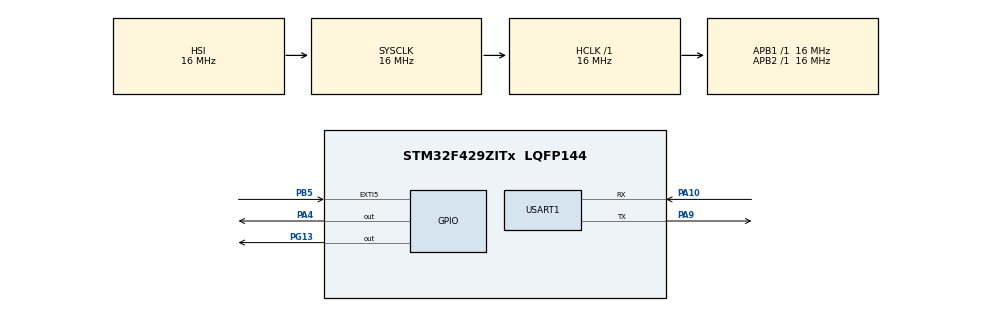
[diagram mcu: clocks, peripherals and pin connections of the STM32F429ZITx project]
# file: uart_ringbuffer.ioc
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Dma.Request0=USART1_RX
Dma.Request1=USART1_TX
Dma.USART1_RX.0.Direction=DMA_PERIPH_TO_MEMORY
Dma.USART1_RX.0.FIFOMode=DMA_FIFOMODE_DISABLE
Dma.USART1_RX.0.Instance=DMA2_Stream2
Dma.USART1_RX.0.MemDataAlignment=DMA_MDATAALIGN_BYTE
Dma.USART1_RX.0.MemInc=DMA_MINC_ENABLE
Dma.USART1_RX.0.Mode=DMA_CIRCULAR
Dma.USART1_RX.0.PeriphDataAlignment=DMA_PDATAALIGN_BYTE
Dma.USART1_RX.0.PeriphInc=DMA_PINC_DISABLE
Dma.USART1_RX.0.Priority=DMA_PRIORITY_LOW
Dma.USART1_TX.1.Direction=DMA_MEMORY_TO_PERIPH
Dma.USART1_TX.1.FIFOMode=DMA_FIFOMODE_DISABLE
Dma.USART1_TX.1.Instance=DMA2_Stream7
Dma.USART1_TX.1.MemDataAlignment=DMA_MDATAALIGN_BYTE
Dma.USART1_TX.1.MemInc=DMA_MINC_ENABLE
Dma.USART1_TX.1.Mode=DMA_NORMAL
Dma.USART1_TX.1.PeriphDataAlignment=DMA_PDATAALIGN_BYTE
Dma.USART1_TX.1.PeriphInc=DMA_PINC_DISABLE
Dma.USART1_TX.1.Priority=DMA_PRIORITY_LOW
Mcu.Family=STM32F4
Mcu.Name=STM32F429ZITx
Mcu.Package=LQFP144
NVIC.DMA2_Stream2_IRQn=true\:0\:0\:false\:false\:true\:false\:true\:true
NVIC.DMA2_Stream7_IRQn=true\:0\:0\:false\:false\:true\:false\:true\:true
NVIC.EXTI9_5_IRQn=true\:0\:0\:false\:false\:true\:true\:true\:true
NVIC.PriorityGroup=NVIC_PRIORITYGROUP_4
NVIC.USART1_IRQn=true\:0\:0\:false\:false\:true\:true\:true\:true
PA10.Mode=Asynchronous
PA10.Signal=USART1_RX
PA4.GPIO_PuPd=GPIO_PULLUP
PA4.Signal=GPIO_Output
PA9.Mode=Asynchronous
PA9.Signal=USART1_TX
PB5.GPIO_ModeDefaultEXTI=GPIO_MODE_IT_FALLING
PB5.GPIO_PuPd=GPIO_PULLUP
PB5.Signal=GPXTI5
PG13.Signal=GPIO_Output
ProjectManager.HeapSize=0x200
ProjectManager.StackSize=0x400
ProjectManager.TargetToolchain=STM32CubeIDE
RCC.AHBFreq_Value=16000000
RCC.APB1Freq_Value=16000000
RCC.APB2Freq_Value=16000000
RCC.CortexFreq_Value=16000000
RCC.HSE_VALUE=25000000
RCC.HSI_VALUE=16000000
RCC.LSE_VALUE=32768
RCC.SYSCLKFreq_VALUE=16000000
RCC.VCOOutputFreq_Value=192000000
USART1.VirtualMode=VM_ASYNC
board=custom

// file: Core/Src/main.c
/* USER CODE BEGIN Header */
/**
  ******************************************************************************
  * @file           : main.c
  * @brief          : Main program body
  ******************************************************************************
  * @attention
  *
  * Copyright (c) 2022 STMicroelectronics.
  * All rights reserved.
  *
  * This software is licensed under terms that can be found in the LICENSE file
  * in the root directory of this software component.
  * If no LICENSE file comes with this software, it is provided AS-IS.
  *
  ******************************************************************************
  */
/* USER CODE END Header */
#include "main.h"

/* USER CODE BEGIN Includes */
#include <string.h>
#include <stdio.h>
#include <stdbool.h>
/* USER CODE END Includes */

/* USER CODE BEGIN PM */
#define TXBUF_MAX		303			// 303 bytes
#define RXBUF_MAX		303			// 303 bytes
/* USER CODE END PM */

UART_HandleTypeDef huart1;
DMA_HandleTypeDef hdma_usart1_rx;
DMA_HandleTypeDef hdma_usart1_tx;

/* USER CODE BEGIN PV */
uint32_t UartRxDMANum = 0;
bool bUartTxDMACpltFlg = true,bUartDataUpdateFlg = false;

uint8_t UartTxDMA_Buf[TXBUF_MAX];
uint8_t UartRxDMA_Buf[RXBUF_MAX];

typedef struct UARTCircBufTag {
	uint8_t	RxBuf1[RXBUF_MAX];
	uint8_t	RxBuf2[RXBUF_MAX];
	int32_t	m_iHead,m_iTail,QueueSize;
	uint32_t OverFlowNum,UnderFlowNum;
} UARTCircBufTyp;

UARTCircBufTyp UARTBuf;

/* USER CODE END PV */

void SystemClock_Config(void);
static void MX_GPIO_Init(void);
static void MX_DMA_Init(void);
static void MX_USART1_UART_Init(void);
/* USER CODE BEGIN PFP */
// Circular Queue(Buffer) :
void	QueueClear(void);
int		QueueGetSize(void);
void QueueDisplayFun(void);
bool	QueuePutByte(uint8_t b);		// 1 byte 넣기
bool	QueueGetByte(uint8_t *pb);		// 1 byte 꺼내기
/* USER CODE END PFP */

int main(void)
{

  /* MCU Configuration--------------------------------------------------------*/

  /* Reset of all peripherals, Initializes the Flash interface and the Systick. */
  HAL_Init();

  /* Configure the system clock */
  SystemClock_Config();

  /* Initialize all configured peripherals */
  MX_GPIO_Init();
  MX_DMA_Init();
  MX_USART1_UART_Init();
  /* USER CODE BEGIN 2 */

  SET_BIT(huart1.Instance->CR3,USART_CR3_DMAT);
  SET_BIT(huart1.Instance->CR3,USART_CR3_DMAR);
  __HAL_UART_ENABLE_IT(&huart1,UART_IT_IDLE);
  HAL_UART_Receive_DMA(&huart1, UartRxDMA_Buf, RXBUF_MAX);
  /* USER CODE END 2 */

  /* Infinite loop */
  while (1)
  {

  }
}

void SystemClock_Config(void)
{
  RCC_OscInitTypeDef RCC_OscInitStruct = {0};
  RCC_ClkInitTypeDef RCC_ClkInitStruct = {0};

  /** Configure the main internal regulator output voltage
  */
  __HAL_RCC_PWR_CLK_ENABLE();
  __HAL_PWR_VOLTAGESCALING_CONFIG(PWR_REGULATOR_VOLTAGE_SCALE3);

  /** Initializes the RCC Oscillators according to the specified parameters
  * in the RCC_OscInitTypeDef structure.
  */
  RCC_OscInitStruct.OscillatorType = RCC_OSCILLATORTYPE_HSI;
  RCC_OscInitStruct.HSIState = RCC_HSI_ON;
  RCC_OscInitStruct.HSICalibrationValue = RCC_HSICALIBRATION_DEFAULT;
  RCC_OscInitStruct.PLL.PLLState = RCC_PLL_NONE;
  if (HAL_RCC_OscConfig(&RCC_OscInitStruct) != HAL_OK)
  {
    Error_Handler();
  }

  /** Initializes the CPU, AHB and APB buses clocks
  */
  RCC_ClkInitStruct.ClockType = RCC_CLOCKTYPE_HCLK|RCC_CLOCKTYPE_SYSCLK
                              |RCC_CLOCKTYPE_PCLK1|RCC_CLOCKTYPE_PCLK2;
  RCC_ClkInitStruct.SYSCLKSource = RCC_SYSCLKSOURCE_HSI;
  RCC_ClkInitStruct.AHBCLKDivider = RCC_SYSCLK_DIV1;
  RCC_ClkInitStruct.APB1CLKDivider = RCC_HCLK_DIV1;
  RCC_ClkInitStruct.APB2CLKDivider = RCC_HCLK_DIV1;

  if (HAL_RCC_ClockConfig(&RCC_ClkInitStruct, FLASH_LATENCY_0) != HAL_OK)
  {
    Error_Handler();
  }
}

static void MX_USART1_UART_Init(void)
{

  huart1.Instance = USART1;
  huart1.Init.BaudRate = 115200;
  huart1.Init.WordLength = UART_WORDLENGTH_8B;
  huart1.Init.StopBits = UART_STOPBITS_1;
  huart1.Init.Parity = UART_PARITY_NONE;
  huart1.Init.Mode = UART_MODE_TX_RX;
  huart1.Init.HwFlowCtl = UART_HWCONTROL_NONE;
  huart1.Init.OverSampling = UART_OVERSAMPLING_16;
  if (HAL_UART_Init(&huart1) != HAL_OK)
  {
    Error_Handler();
  }

}

static void MX_DMA_Init(void)
{

  /* DMA controller clock enable */
  __HAL_RCC_DMA2_CLK_ENABLE();

  /* DMA interrupt init */
  /* DMA2_Stream2_IRQn interrupt configuration */
  HAL_NVIC_SetPriority(DMA2_Stream2_IRQn, 0, 0);
  HAL_NVIC_EnableIRQ(DMA2_Stream2_IRQn);
  /* DMA2_Stream7_IRQn interrupt configuration */
  HAL_NVIC_SetPriority(DMA2_Stream7_IRQn, 0, 0);
  HAL_NVIC_EnableIRQ(DMA2_Stream7_IRQn);

}

static void MX_GPIO_Init(void)
{
  GPIO_InitTypeDef GPIO_InitStruct = {0};

  /* GPIO Ports Clock Enable */
  __HAL_RCC_GPIOA_CLK_ENABLE();
  __HAL_RCC_GPIOG_CLK_ENABLE();
  __HAL_RCC_GPIOB_CLK_ENABLE();

  /*Configure GPIO pin Output Level */
  HAL_GPIO_WritePin(GPIOA, GPIO_PIN_4, GPIO_PIN_RESET);

  /*Configure GPIO pin Output Level */
  HAL_GPIO_WritePin(GPIOG, GPIO_PIN_13, GPIO_PIN_RESET);

  /*Configure GPIO pin : PA4 */
  GPIO_InitStruct.Pin = GPIO_PIN_4;
  GPIO_InitStruct.Mode = GPIO_MODE_OUTPUT_PP;
  GPIO_InitStruct.Pull = GPIO_PULLUP;
  GPIO_InitStruct.Speed = GPIO_SPEED_FREQ_LOW;
  HAL_GPIO_Init(GPIOA, &GPIO_InitStruct);

  /*Configure GPIO pin : PG13 */
  GPIO_InitStruct.Pin = GPIO_PIN_13;
  GPIO_InitStruct.Mode = GPIO_MODE_OUTPUT_PP;
  GPIO_InitStruct.Pull = GPIO_NOPULL;
  GPIO_InitStruct.Speed = GPIO_SPEED_FREQ_LOW;
  HAL_GPIO_Init(GPIOG, &GPIO_InitStruct);

  /*Configure GPIO pin : PB5 */
  GPIO_InitStruct.Pin = GPIO_PIN_5;
  GPIO_InitStruct.Mode = GPIO_MODE_IT_FALLING;
  GPIO_InitStruct.Pull = GPIO_PULLUP;
  HAL_GPIO_Init(GPIOB, &GPIO_InitStruct);

  /* EXTI interrupt init*/
  HAL_NVIC_SetPriority(EXTI9_5_IRQn, 0, 0);
  HAL_NVIC_EnableIRQ(EXTI9_5_IRQn);

}

/* USER CODE BEGIN 4 */
void HAL_UART_RxCpltCallback(UART_HandleTypeDef *huart) {
	int32_t i = 0,j = 0;

	if (huart->Instance==USART1) {
		QueueClear();
		UartRxDMANum = RXBUF_MAX-huart->hdmarx->Instance->NDTR;  // UartRxDMA_Buf_pW is the amount of received data.
		for (i = 0; i<UartRxDMANum; i++) {
			QueuePutByte(UartRxDMA_Buf[i]);
		}
		QueueDisplayFun();
	}
}

// Queue를 초기화
void QueueClear() {
	UARTBuf.m_iHead = UARTBuf.m_iTail = 0;	// When Head_ptr=Tail_ptr, circular queue is empty.
	UARTBuf.OverFlowNum = UARTBuf.UnderFlowNum = 0;

	memset(UARTBuf.RxBuf1,0,TXBUF_MAX);
	memset(UARTBuf.RxBuf2,0,RXBUF_MAX);
}
// Queue에 들어 있는 자료 개수.
int QueueGetSize() {  // Head_Ptr is larger than Tail_ptr all the time.
	return (UARTBuf.m_iHead-UARTBuf.m_iTail+RXBUF_MAX)%RXBUF_MAX;
}
// Queue에 1 byte 넣음.
// When Head_ptr+1=Tail_ptr, circular queue is full. The maximum queue size is
// BUFF_SIZE-1. so when lower than (BUFF_SIZE-1), new data can be put.
bool QueuePutByte(uint8_t b) {
	if (QueueGetSize()==(RXBUF_MAX-1)) {
		UARTBuf.OverFlowNum++;
		return false;
	}
	// For using "0" index, buff[m_iHead++] is used instead of buff[++m_iHead].
	UARTBuf.RxBuf1[UARTBuf.m_iHead++] = b;
	UARTBuf.m_iHead %= RXBUF_MAX;	// Thanks to "%" operator, Head_ptr can be circular.
	return true;
}
// Queue에서 1 byte 꺼냄.
bool QueueGetByte(uint8_t* pb) {
	if (QueueGetSize()==0) {
		UARTBuf.UnderFlowNum++;
		return false;
	}

	*pb = UARTBuf.RxBuf1[UARTBuf.m_iTail++];
	UARTBuf.m_iTail %= RXBUF_MAX;	// Thanks to "%" operator, Head_ptr can be circular.
	return true;
}

void QueueDisplayFun(void) {
	int InitFlag = 0,i,j,k,QueueSize;
	for (j = 0; j<RXBUF_MAX; j++) {
		if (InitFlag==0) {
			for (i = UARTBuf.m_iHead; i>0; i--,j++) {
				UARTBuf.RxBuf2[j] = UARTBuf.RxBuf1[i-1];
			}
			InitFlag = 1;
		}
		k = (RXBUF_MAX-1)-(j-UARTBuf.m_iHead);
		UARTBuf.RxBuf2[j] = UARTBuf.RxBuf1[k];
	}
	QueueSize = QueueGetSize();
}

/* USER CODE END 4 */

void Error_Handler(void)
{
  __disable_irq();
  while (1)
  {
  }
}
